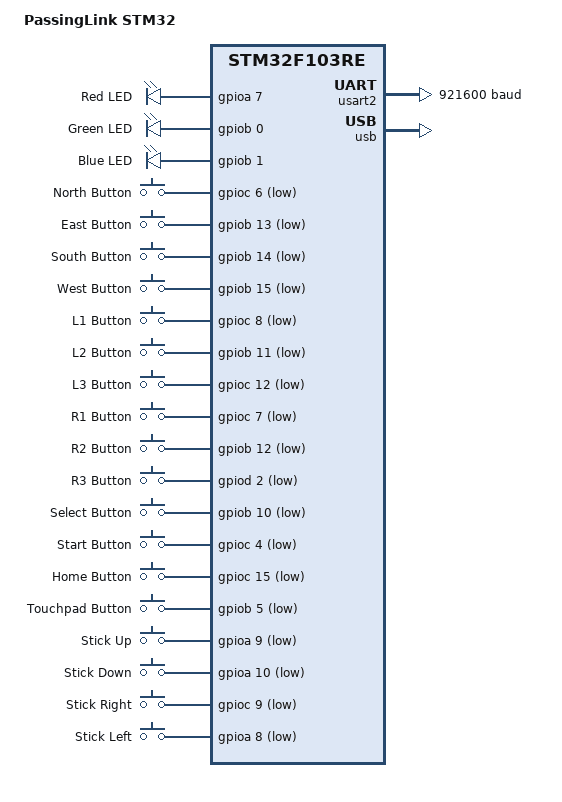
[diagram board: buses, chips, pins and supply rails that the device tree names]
/dts-v1/;
#include <st/f1/stm32f103Xe.dtsi>

/ {
  model = "PassingLink STM32";
  compatible = "st,stm32f103re";

  chosen {
    zephyr,console = &usart2;
    zephyr,shell-uart = &usart2;
    zephyr,sram = &sram0;
    zephyr,flash = &flash0;
  };

  leds {
    compatible = "gpio-leds";
    status_red: led_1 {
      gpios = <&gpioa 7 0>;
      label = "Red LED";
    };
    status_green: led_2 {
      gpios = <&gpiob 0 0>;
      label = "Green LED";
    };
    status_blue: led_3 {
      gpios = <&gpiob 1 0>;
      label = "Blue LED";
    };
  };

  gpio_keys {
    compatible = "gpio-keys";
    button_north {
      gpios = <&gpioc 6 (GPIO_PULL_UP | GPIO_ACTIVE_LOW)>;
      label = "North Button";
    };

    button_east {
      gpios = <&gpiob 13 (GPIO_PULL_UP | GPIO_ACTIVE_LOW)>;
      label = "East Button";
    };

    button_south {
      gpios = <&gpiob 14 (GPIO_PULL_UP | GPIO_ACTIVE_LOW)>;
      label = "South Button";
    };

    button_west {
      gpios = <&gpiob 15 (GPIO_PULL_UP | GPIO_ACTIVE_LOW)>;
      label = "West Button";
    };

    button_l1 {
      gpios = <&gpioc 8 (GPIO_PULL_UP | GPIO_ACTIVE_LOW)>;
      label = "L1 Button";
    };

    button_l2 {
      gpios = <&gpiob 11 (GPIO_PULL_UP | GPIO_ACTIVE_LOW)>;
      label = "L2 Button";
    };

    button_l3 {
      gpios = <&gpioc 12 (GPIO_PULL_UP | GPIO_ACTIVE_LOW)>;
      label = "L3 Button";
    };

    button_r1 {
      gpios = <&gpioc 7 (GPIO_PULL_UP | GPIO_ACTIVE_LOW)>;
      label = "R1 Button";
    };

    button_r2 {
      gpios = <&gpiob 12 (GPIO_PULL_UP | GPIO_ACTIVE_LOW)>;
      label = "R2 Button";
    };

    button_r3 {
      gpios = <&gpiod 2 (GPIO_PULL_UP | GPIO_ACTIVE_LOW)>;
      label = "R3 Button";
    };

    button_select {
      gpios = <&gpiob 10 (GPIO_PULL_UP | GPIO_ACTIVE_LOW)>;
      label = "Select Button";
    };

    button_start {
      gpios = <&gpioc 4 (GPIO_PULL_UP | GPIO_ACTIVE_LOW)>;
      label = "Start Button";
    };

    button_home {
      gpios = <&gpioc 15 (GPIO_PULL_UP | GPIO_ACTIVE_LOW)>;
      label = "Home Button";
    };

    button_touchpad {
      gpios = <&gpiob 5 (GPIO_PULL_UP | GPIO_ACTIVE_LOW)>;
      label = "Touchpad Button";
    };

    stick_up {
      gpios = <&gpioa 9 (GPIO_PULL_UP | GPIO_ACTIVE_LOW)>;
      label = "Stick Up";
    };

    stick_down {
      gpios = <&gpioa 10 (GPIO_PULL_UP | GPIO_ACTIVE_LOW)>;
      label = "Stick Down";
    };

    stick_right {
      gpios = <&gpioc 9 (GPIO_PULL_UP | GPIO_ACTIVE_LOW)>;
      label = "Stick Right";
    };

    stick_left {
      gpios = <&gpioa 8 (GPIO_PULL_UP | GPIO_ACTIVE_LOW)>;
      label = "Stick Left";
    };
  };
};

&usart2 {
  current-speed = <921600>;
  status = "okay";
};

&usb {
  status = "okay";
};
